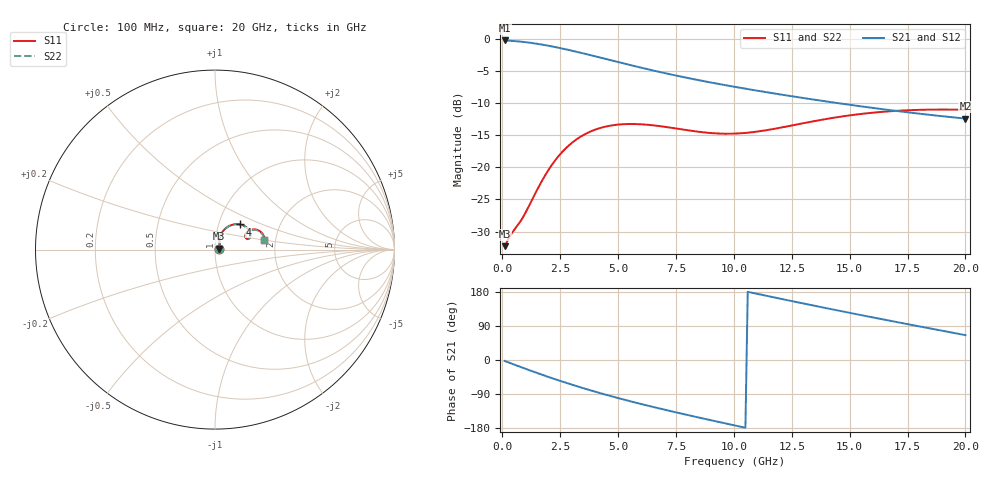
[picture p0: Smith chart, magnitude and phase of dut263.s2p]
! Touchstone file exported from HFSS 2024.1.0
!  File:  C:/UserFiles/LocalFiles/RDL_TSV_Batchsim/temp_RDL_TSV_263_1779459784.aedt
!  Generated:  10:38:26 PM May 22, 2026
!  Design:  RDL_TSV
!  Project:  temp_RDL_TSV_263_1779459784
!  Setup:  Setup1
!  Solution:  Sweep
! Variables:
!  dtsv = 8.78um
!  hbump = 3um
!  htsv = 80.41um
!  ldown = 629.4um
!  lrdl = 653.06um
!  p = 40
!  p1 = 44.68um
!  rhole = 10um
!  subl = 4500.44um
!  t = 450um
!  tdown = 4.45um
!  trdl = 2.92um
!  viad = 10um
!  wdown = 12.4um
!  wrdl = 28.86um
!  xbump = 18um
# GHz S MA R 50.000000
! Terminal data exported
! Port[1] = TM1_1_T1
! Port[2] = TM1_4_T1
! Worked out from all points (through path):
!   200 points, 100 MHz to 20 GHz, reference 50 ohm
!   highest |S21| = -0.21 dB at 100 MHz (marker M1); lowest = -12.4 dB at 20 GHz (marker M2)
!   group delay of S21, straight-line fit = 39 ps
!   lowest |S11| = -32.3 dB at 100 MHz (marker M3), VSWR 1.05, Z = 52.4 + j0.494 ohm
!   |S11| at or under -10 dB: start of sweep to end of sweep
!   |S22| runs from -32.3 to -11.0 dB; largest |S21 - S12| = 1e-14
!   S11 on the Smith chart (normalised r, x): 100 MHz: 1.05, +0.01; 4 GHz: 1.26, +0.37; 20 GHz: 1.75, +0.21
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0.1  0.02433 11.2  0.9758 -2.4  0.9758 -2.4  0.02433 11.2
! Gamma 0 0 0 0
! Port Impedance 50 0 50 0
0.5  0.03227 34.5  0.9659 -11.8  0.9659 -11.8  0.03227 34.5
0.9  0.04113 51.8  0.951 -20.9  0.951 -20.9  0.04112 51.8
1.4  0.06142 65.5  0.9256 -32.0  0.9256 -32.0  0.06143 65.5
1.8  0.08376 68.5  0.9007 -40.6  0.9007 -40.6  0.08379 68.5
2.2  0.1083 67.1  0.873 -49.0  0.873 -49.0  0.1084 67.1
2.6  0.1327 63.3  0.8434 -57.1  0.8434 -57.1  0.1328 63.4
3  0.1551 58.5  0.8127 -64.9  0.8127 -64.9  0.1552 58.5
3.5  0.1787 51.9  0.7737 -74.4  0.7737 -74.4  0.1789 52.0
4  0.1966 45.4  0.7352 -83.4  0.7352 -83.4  0.1969 45.4
4.7  0.2121 37.0  0.6834 -95.5  0.6834 -95.5  0.2124 37.1
5.4  0.2178 30.0  0.6357 -106.9  0.6357 -106.9  0.2183 30.0
6.1  0.2162 24.4  0.5925 -117.7  0.5925 -117.7  0.2168 24.4
6.8  0.2098 20.5  0.5541 -128.1  0.5541 -128.1  0.2105 20.5
8.3  0.1915 18.0  0.4857 -149.3  0.4857 -149.3  0.1923 17.8
10.1  0.1836 23.1  0.4226 -173.5  0.4226 -173.5  0.1842 22.8
11.8  0.2006 28.4  0.3755 164.4  0.3755 164.4  0.2007 27.9
13.4  0.2281 29.0  0.3387 144.2  0.3387 144.2  0.2277 28.5
15  0.2544 26.0  0.3076 124.4  0.3076 124.4  0.2536 25.6
16.7  0.2736 21.1  0.28 104.1  0.28 104.1  0.2725 20.7
18.3  0.2818 16.1  0.2587 85.3  0.2587 85.3  0.2804 15.8
20  0.2813 11.4  0.2403 65.6  0.2403 65.6  0.2798 11.1
